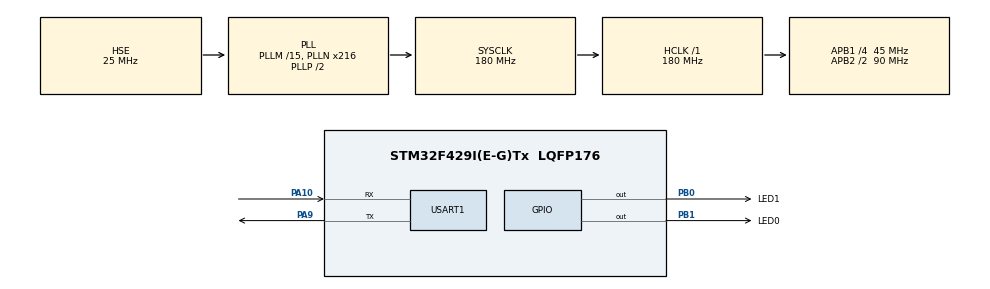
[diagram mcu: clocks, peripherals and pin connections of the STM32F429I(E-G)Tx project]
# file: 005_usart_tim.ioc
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Mcu.Family=STM32F4
Mcu.Name=STM32F429I(E-G)Tx
Mcu.Package=LQFP176
NVIC.PriorityGroup=NVIC_PRIORITYGROUP_2
NVIC.TIM2_IRQn=true\:1\:0\:true\:false\:true\:true\:true
NVIC.USART1_IRQn=true\:1\:0\:true\:false\:true\:true\:true
PA10.Mode=Asynchronous
PA10.Signal=USART1_RX
PA13.Mode=Serial_Wire
PA13.Signal=SYS_JTMS-SWDIO
PA14.Mode=Serial_Wire
PA14.Signal=SYS_JTCK-SWCLK
PA9.Mode=Asynchronous
PA9.Signal=USART1_TX
PB0.GPIO_Label=LED1
PB0.PinState=GPIO_PIN_SET
PB0.Signal=GPIO_Output
PB1.GPIO_Label=LED0
PB1.PinState=GPIO_PIN_SET
PB1.Signal=GPIO_Output
PC14/OSC32_IN.Mode=LSE-External-Oscillator
PC14/OSC32_IN.Signal=RCC_OSC32_IN
PC15/OSC32_OUT.Mode=LSE-External-Oscillator
PC15/OSC32_OUT.Signal=RCC_OSC32_OUT
PH0/OSC_IN.Mode=HSE-External-Oscillator
PH0/OSC_IN.Signal=RCC_OSC_IN
PH1/OSC_OUT.Mode=HSE-External-Oscillator
PH1/OSC_OUT.Signal=RCC_OSC_OUT
ProjectManager.HeapSize=0x200
ProjectManager.StackSize=0x400
ProjectManager.TargetToolchain=MDK-ARM V5.27
RCC.48MHZClocksFreq_Value=90000000
RCC.AHBFreq_Value=180000000
RCC.APB1CLKDivider=RCC_HCLK_DIV4
RCC.APB1Freq_Value=45000000
RCC.APB1TimFreq_Value=90000000
RCC.APB2CLKDivider=RCC_HCLK_DIV2
RCC.APB2Freq_Value=90000000
RCC.APB2TimFreq_Value=180000000
RCC.CortexFreq_Value=180000000
RCC.HCLKFreq_Value=180000000
RCC.HSE_VALUE=25000000
RCC.HSI_VALUE=16000000
RCC.PLLM=15
RCC.PLLN=216
RCC.PLLSourceVirtual=RCC_PLLSOURCE_HSE
RCC.SYSCLKFreq_VALUE=180000000
RCC.SYSCLKSource=RCC_SYSCLKSOURCE_PLLCLK
RCC.VCOOutputFreq_Value=360000000
TIM2.Period=5000-1
TIM2.Prescaler=9000-1
USART1.VirtualMode=VM_ASYNC
VP_TIM2_VS_ClockSourceINT.Mode=Internal
board=custom

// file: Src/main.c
/* USER CODE BEGIN Header */
/**
  ******************************************************************************
  * @file           : main.c
  * @brief          : Main program body
  ******************************************************************************
  * @attention
  *
  * <h2><center>&copy; Copyright (c) 2021 STMicroelectronics.
  * All rights reserved.</center></h2>
  *
  * This software component is licensed by ST under BSD 3-Clause license,
  * the "License"; You may not use this file except in compliance with the
  * License. You may obtain a copy of the License at:
  *                        opensource.org/licenses/BSD-3-Clause
  *
  ******************************************************************************
  */
/* USER CODE END Header */

#include "main.h"
#include "tim.h"
#include "usart.h"
#include "gpio.h"

/* USER CODE BEGIN Includes */
#include "stdio.h"

/* USER CODE END Includes */

void SystemClock_Config(void);

/* USER CODE BEGIN 0 */

#define LED0_ON()  HAL_GPIO_WritePin(LED0_GPIO_Port,LED0_Pin,GPIO_PIN_RESET)
#define LED0_OFF()  HAL_GPIO_WritePin(LED0_GPIO_Port,LED0_Pin,GPIO_PIN_SET)
#define LED1_ON()  HAL_GPIO_WritePin(LED1_GPIO_Port,LED1_Pin,GPIO_PIN_RESET)
#define LED1_OFF()  HAL_GPIO_WritePin(LED1_GPIO_Port,LED1_Pin,GPIO_PIN_SET)
#define LED0_TOG()  HAL_GPIO_TogglePin(LED0_GPIO_Port,LED0_Pin)
#define LED1_TOG()  HAL_GPIO_WritePin(LED1_GPIO_Port,LED1_Pin)

uint8_t str_1[] = "=============LongYorke:Hello,my friend!=============/n/r";
uint8_t str_err[] = "Not a command character!/n/r";
uint8_t hh = 0,mm = 0,ss = 0,hss = 0;
uint8_t str_buff[64] = {0};//存放格式化字符串的数组
uint8_t Rx_dat[16] = "";//接收数据的数组>3即可

void check_led(void)
{
	LED0_ON();
	HAL_Delay(500);
	LED1_ON();
	HAL_Delay(500);

	LED0_OFF();
	HAL_Delay(500);
	LED1_OFF();
	HAL_Delay(500);
}

void HAL_TIM_PeriodElapsedCallback(TIM_HandleTypeDef *htim)
{
	if(htim->Instance == htim2.Instance)
	{
		LED0_TOG();
		hss++;
		if(hss == 2)
		{
			hss = 0;
			ss++;
			if(ss == 60)
			{
				ss = 0;
				mm++;
				if(mm == 60)
				{
					mm = 0;
					hh++;
					if(hh == 24)
					{
						hh = 0;
					}
				}
			}
		}
	}
}

void HAL_UART_RxCpltCallback(UART_HandleTypeDef *huart)
{
	if(huart->Instance == huart1.Instance)
	{
		if(Rx_dat[0] == 0xBF && Rx_dat[2] == 0xFB)
		{
			switch(Rx_dat[1])
			{
				case 0xA1:
					LED1_ON();
					sprintf((char *)str_buff,"%d:%d:%d    LED2打开！\r\n",hh,mm,ss);
				break;
				case 0xA2:
					LED1_OFF();
					sprintf((char *)str_buff,"%d:%d:%d		LED1关闭!/r/n",hh,mm,ss);
				break;
				default:
					sprintf((char *)str_buff,"%d:%d:%d		指令错误!/r/n",hh,mm,ss);
				break;
			}
			HAL_UART_Transmit(&huart1,str_buff,sizeof(str_buff),0x10000);
			HAL_UART_Receive_IT(&huart1,Rx_dat,3);
		}
		else
		{
			sprintf((char *)&str_buff,"%d:%d:%d		指令错误!/r/n",hh,mm,ss);
			HAL_UART_Transmit(&huart1,str_buff,sizeof(str_buff),0x10000);
			HAL_UART_Receive_IT(&huart1,Rx_dat,3);
		}

	}
}

/* USER CODE END 0 */

int main(void)
{

  /* MCU Configuration--------------------------------------------------------*/

  /* Reset of all peripherals, Initializes the Flash interface and the Systick. */
  HAL_Init();

  /* Configure the system clock */
  SystemClock_Config();

  /* Initialize all configured peripherals */
  MX_GPIO_Init();
  MX_TIM2_Init();
  MX_USART1_UART_Init();
  /* USER CODE BEGIN 2 */
	check_led();
	HAL_UART_Transmit(&huart1,str_1,sizeof(str_1),0xFFFF);

	HAL_UART_Receive_IT(&huart1,Rx_dat,3);
	HAL_TIM_Base_Start_IT(&htim2);
  /* USER CODE END 2 */

  /* Infinite loop */
  while (1)
  {

  }
}

void SystemClock_Config(void)
{
  RCC_OscInitTypeDef RCC_OscInitStruct = {0};
  RCC_ClkInitTypeDef RCC_ClkInitStruct = {0};

  /** Configure the main internal regulator output voltage
  */
  __HAL_RCC_PWR_CLK_ENABLE();
  __HAL_PWR_VOLTAGESCALING_CONFIG(PWR_REGULATOR_VOLTAGE_SCALE1);
  /** Initializes the CPU, AHB and APB busses clocks
  */
  RCC_OscInitStruct.OscillatorType = RCC_OSCILLATORTYPE_HSE;
  RCC_OscInitStruct.HSEState = RCC_HSE_ON;
  RCC_OscInitStruct.PLL.PLLState = RCC_PLL_ON;
  RCC_OscInitStruct.PLL.PLLSource = RCC_PLLSOURCE_HSE;
  RCC_OscInitStruct.PLL.PLLM = 15;
  RCC_OscInitStruct.PLL.PLLN = 216;
  RCC_OscInitStruct.PLL.PLLP = RCC_PLLP_DIV2;
  RCC_OscInitStruct.PLL.PLLQ = 4;
  if (HAL_RCC_OscConfig(&RCC_OscInitStruct) != HAL_OK)
  {
    Error_Handler();
  }
  /** Activate the Over-Drive mode
  */
  if (HAL_PWREx_EnableOverDrive() != HAL_OK)
  {
    Error_Handler();
  }
  /** Initializes the CPU, AHB and APB busses clocks
  */
  RCC_ClkInitStruct.ClockType = RCC_CLOCKTYPE_HCLK|RCC_CLOCKTYPE_SYSCLK
                              |RCC_CLOCKTYPE_PCLK1|RCC_CLOCKTYPE_PCLK2;
  RCC_ClkInitStruct.SYSCLKSource = RCC_SYSCLKSOURCE_PLLCLK;
  RCC_ClkInitStruct.AHBCLKDivider = RCC_SYSCLK_DIV1;
  RCC_ClkInitStruct.APB1CLKDivider = RCC_HCLK_DIV4;
  RCC_ClkInitStruct.APB2CLKDivider = RCC_HCLK_DIV2;

  if (HAL_RCC_ClockConfig(&RCC_ClkInitStruct, FLASH_LATENCY_5) != HAL_OK)
  {
    Error_Handler();
  }
}

void Error_Handler(void)
{
}

/************************ (C) COPYRIGHT STMicroelectronics *****END OF FILE****/
